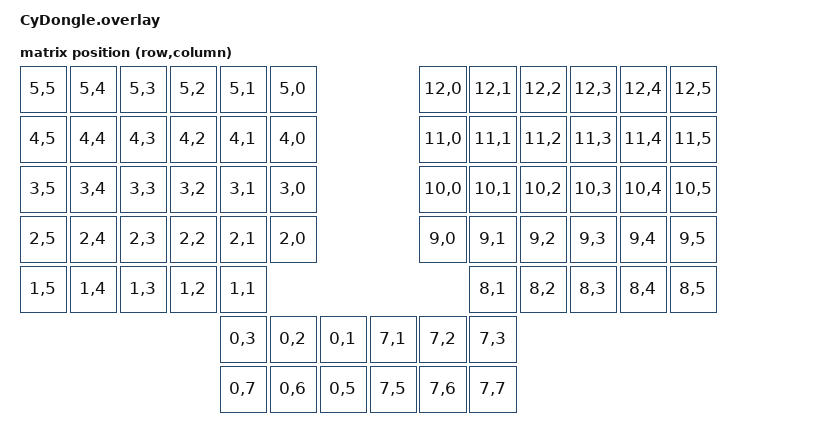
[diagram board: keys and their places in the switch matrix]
#include <dt-bindings/zmk/matrix_transform.h>

/ {
    chosen {
        zmk,kscan = &mock_kscan;
        zmk,physical-layout = &physical_layout0; 
    };

    mock_kscan: mock_kscan_0 {
        compatible = "zmk,kscan-mock";
        columns = <0>;
        rows = <0>;
        events = <0>;
    };

    imprint_number_row_full_bottom_row: keymap_transform_5 {
        compatible = "zmk,matrix-transform";
        columns = <8>;
        rows = <14>;
        map = <
RC(5,5) RC(5,4) RC(5,3) RC(5,2) RC(5,1) RC(5,0)                           RC(12,0) RC(12,1) RC(12,2) RC(12,3) RC(12,4) RC(12,5)
RC(4,5) RC(4,4) RC(4,3) RC(4,2) RC(4,1) RC(4,0)                           RC(11,0) RC(11,1) RC(11,2) RC(11,3) RC(11,4) RC(11,5)
RC(3,5) RC(3,4) RC(3,3) RC(3,2) RC(3,1) RC(3,0)                           RC(10,0) RC(10,1) RC(10,2) RC(10,3) RC(10,4) RC(10,5)
RC(2,5) RC(2,4) RC(2,3) RC(2,2) RC(2,1) RC(2,0)                           RC(9,0)  RC(9,1)  RC(9,2)  RC(9,3)  RC(9,4)  RC(9,5)
RC(1,5) RC(1,4) RC(1,3) RC(1,2) RC(1,1)                                            RC(8,1)  RC(8,2)  RC(8,3)  RC(8,4)  RC(8,5)
                                    RC(0,3) RC(0,2) RC(0,1)   RC(7,1) RC(7,2) RC(7,3)
                                    RC(0,7) RC(0,6) RC(0,5)   RC(7,5) RC(7,6) RC(7,7)
        >;
    };
};

/ {
    physical_layout0: physical_layout_0 {
        compatible = "zmk,physical-layout";
        display-name = "Default Layout";
        transform = <&imprint_number_row_full_bottom_row>;
    };
};
